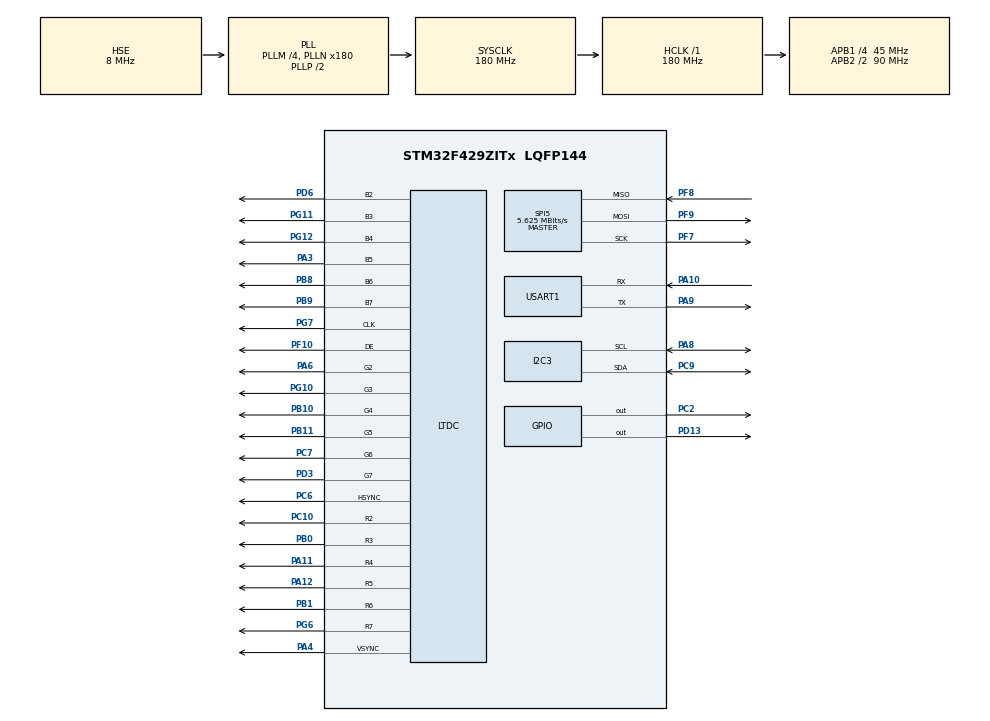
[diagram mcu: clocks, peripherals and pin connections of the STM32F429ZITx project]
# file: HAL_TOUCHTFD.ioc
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LTDC.ActiveH=320
LTDC.ActiveW=240
LTDC.Alpha_L0=255
LTDC.HBP=20
LTDC.HFP=10
LTDC.HSync=10
LTDC.ImageHeight_L0=320
LTDC.ImageWidth_L0=240
LTDC.Layers=0
LTDC.PixelFormat_L0=LTDC_PIXEL_FORMAT_RGB565
LTDC.VFP=4
LTDC.VSync=2
LTDC.WindowX1_L0=240
LTDC.WindowY1_L0=320
Mcu.Family=STM32F4
Mcu.Name=STM32F429ZITx
Mcu.Package=LQFP144
NVIC.PriorityGroup=NVIC_PRIORITYGROUP_4
PA10.Mode=Asynchronous
PA10.Signal=USART1_RX
PA11.Mode=RGB666
PA11.Signal=LTDC_R4
PA12.Mode=RGB666
PA12.Signal=LTDC_R5
PA3.Mode=RGB666
PA3.Signal=LTDC_B5
PA4.Mode=RGB666
PA4.Signal=LTDC_VSYNC
PA6.Mode=RGB666
PA6.Signal=LTDC_G2
PA8.Mode=I2C
PA8.Signal=I2C3_SCL
PA9.Mode=Asynchronous
PA9.Signal=USART1_TX
PB0.Mode=RGB666
PB0.Signal=LTDC_R3
PB1.Mode=RGB666
PB1.Signal=LTDC_R6
PB10.Mode=RGB666
PB10.Signal=LTDC_G4
PB11.Mode=RGB666
PB11.Signal=LTDC_G5
PB8.Mode=RGB666
PB8.Signal=LTDC_B6
PB9.Mode=RGB666
PB9.Signal=LTDC_B7
PC10.Mode=RGB666
PC10.Signal=LTDC_R2
PC2.Signal=GPIO_Output
PC6.Mode=RGB666
PC6.Signal=LTDC_HSYNC
PC7.Mode=RGB666
PC7.Signal=LTDC_G6
PC9.Mode=I2C
PC9.Signal=I2C3_SDA
PD13.Signal=GPIO_Output
PD3.Mode=RGB666
PD3.Signal=LTDC_G7
PD6.Mode=RGB666
PD6.Signal=LTDC_B2
PF10.Mode=RGB666
PF10.Signal=LTDC_DE
PF7.Mode=Full_Duplex_Master
PF7.Signal=SPI5_SCK
PF8.Mode=Full_Duplex_Master
PF8.Signal=SPI5_MISO
PF9.Mode=Full_Duplex_Master
PF9.Signal=SPI5_MOSI
PG10.Mode=RGB666
PG10.Signal=LTDC_G3
PG11.Mode=RGB666
PG11.Signal=LTDC_B3
PG12.Mode=RGB666
PG12.Signal=LTDC_B4
PG6.Mode=RGB666
PG6.Signal=LTDC_R7
PG7.Mode=RGB666
PG7.Signal=LTDC_CLK
PH0/OSC_IN.Mode=HSE-External-Oscillator
PH0/OSC_IN.Signal=RCC_OSC_IN
PH1/OSC_OUT.Mode=HSE-External-Oscillator
PH1/OSC_OUT.Signal=RCC_OSC_OUT
ProjectManager.HeapSize=0x200
ProjectManager.StackSize=0x400
ProjectManager.TargetToolchain=TrueSTUDIO
RCC.48MHZClocksFreq_Value=90000000
RCC.AHBFreq_Value=180000000
RCC.APB1CLKDivider=RCC_HCLK_DIV4
RCC.APB1Freq_Value=45000000
RCC.APB1TimFreq_Value=90000000
RCC.APB2CLKDivider=RCC_HCLK_DIV2
RCC.APB2Freq_Value=90000000
RCC.APB2TimFreq_Value=180000000
RCC.CortexFreq_Value=180000000
RCC.HCLKFreq_Value=180000000
RCC.HSE_VALUE=8000000
RCC.HSI_VALUE=16000000
RCC.LSE_VALUE=32768
RCC.PLLM=4
RCC.PLLN=180
RCC.PLLSAIN=56
RCC.PLLSAIR=7
RCC.PLLSourceVirtual=RCC_PLLSOURCE_HSE
RCC.SYSCLKFreq_VALUE=180000000
RCC.SYSCLKSource=RCC_SYSCLKSOURCE_PLLCLK
RCC.VCOOutputFreq_Value=360000000
SPI5.BaudRatePrescaler=SPI_BAUDRATEPRESCALER_16
SPI5.CalculateBaudRate=5.625 MBits/s
SPI5.Direction=SPI_DIRECTION_2LINES
SPI5.Mode=SPI_MODE_MASTER
SPI5.VirtualType=VM_MASTER
USART1.VirtualMode=VM_ASYNC
board=custom

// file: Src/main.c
/* USER CODE BEGIN Header */
/**
  ******************************************************************************
  * @file           : main.c
  * @brief          : Main program body
  ******************************************************************************
  * @attention
  *
  * <h2><center>&copy; Copyright (c) 2019 STMicroelectronics.
  * All rights reserved.</center></h2>
  *
  * This software component is licensed by ST under BSD 3-Clause license,
  * the "License"; You may not use this file except in compliance with the
  * License. You may obtain a copy of the License at:
  *                        opensource.org/licenses/BSD-3-Clause
  *
  ******************************************************************************
  */
/* USER CODE END Header */

#include "main.h"

/* USER CODE BEGIN Includes */
#include "lcd_ili9341.h"
#include "stm32f429i_discovery_ts.h"
#include <stdio.h>
/* USER CODE END Includes */

I2C_HandleTypeDef hi2c3;

LTDC_HandleTypeDef hltdc;

SPI_HandleTypeDef hspi5;

UART_HandleTypeDef huart1;

void SystemClock_Config(void);
static void MX_GPIO_Init(void);
static void MX_LTDC_Init(void);
static void MX_SPI5_Init(void);
static void MX_USART1_UART_Init(void);
static void MX_I2C3_Init(void);
/* USER CODE BEGIN PFP */
int _write(int file, char *ptr, int len)
{
	HAL_UART_Transmit(&huart1, (uint8_t *)ptr, len, 0xFFFFFFFF);
	return len;
}
/* USER CODE END PFP */

/* USER CODE BEGIN 0 */
#define LCD_FRAMEBUFFER_SIZE (LCD_PIXEL_WIDTH * LCD_PIXEL_HEIGHT)
uint16_t frame_buffer[LCD_FRAMEBUFFER_SIZE];
/* USER CODE END 0 */

int main(void)
{
  /* USER CODE BEGIN 1 */
	int idx = -1;
	int flag = 0;
	int color[] = {
					LCD_COLOR_WHITE,
					LCD_COLOR_BLACK,
					LCD_COLOR_GREY,
					LCD_COLOR_BLUE,
					LCD_COLOR_BLUE2,
					LCD_COLOR_RED,
					LCD_COLOR_MAGENTA,
					LCD_COLOR_GREEN,
					LCD_COLOR_CYAN,
					LCD_COLOR_YELLOW
			};
  /* USER CODE END 1 */

  /* MCU Configuration--------------------------------------------------------*/

  /* Reset of all peripherals, Initializes the Flash interface and the Systick. */
  HAL_Init();

  /* Configure the system clock */
  SystemClock_Config();

  /* USER CODE BEGIN SysInit */
  TS_StateTypeDef stTouch;
  BSP_TS_Init(240, 320);
  /* USER CODE END SysInit */

  /* Initialize all configured peripherals */
  MX_GPIO_Init();
  MX_LTDC_Init();
  MX_SPI5_Init();
  MX_USART1_UART_Init();
  MX_I2C3_Init();
  /* USER CODE BEGIN 2 */
  HAL_GPIO_WritePin(GPIOC, GPIO_PIN_2, GPIO_PIN_SET);
  LCD_PowerOn();
  HAL_LTDC_SetAddress(&hltdc, (uint32_t)frame_buffer, 0);
  /* USER CODE END 2 */

  /* Infinite loop */
  while (1)
  {

    /* USER CODE BEGIN 3 */
	BSP_TS_GetState(&stTouch);
	if(stTouch.TouchDetected) {
		if(!flag) {
			flag = 1;
			printf("X : %d\r\n", stTouch.X);
			printf("Y : %d\r\n", stTouch.Y);
			if(++idx == 11) {
				idx = 0;
			}
			for(int j=0; j<LCD_FRAMEBUFFER_SIZE; j++) {
				frame_buffer[j] = color[idx];
			}
			HAL_Delay(200);
		}
	}
	else {
		flag = 0;
	}
  }
  /* USER CODE END 3 */
}

void SystemClock_Config(void)
{
  RCC_OscInitTypeDef RCC_OscInitStruct = {0};
  RCC_ClkInitTypeDef RCC_ClkInitStruct = {0};
  RCC_PeriphCLKInitTypeDef PeriphClkInitStruct = {0};

  /** Configure the main internal regulator output voltage
  */
  __HAL_RCC_PWR_CLK_ENABLE();
  __HAL_PWR_VOLTAGESCALING_CONFIG(PWR_REGULATOR_VOLTAGE_SCALE1);
  /** Initializes the CPU, AHB and APB busses clocks
  */
  RCC_OscInitStruct.OscillatorType = RCC_OSCILLATORTYPE_HSE;
  RCC_OscInitStruct.HSEState = RCC_HSE_ON;
  RCC_OscInitStruct.PLL.PLLState = RCC_PLL_ON;
  RCC_OscInitStruct.PLL.PLLSource = RCC_PLLSOURCE_HSE;
  RCC_OscInitStruct.PLL.PLLM = 4;
  RCC_OscInitStruct.PLL.PLLN = 180;
  RCC_OscInitStruct.PLL.PLLP = RCC_PLLP_DIV2;
  RCC_OscInitStruct.PLL.PLLQ = 4;
  if (HAL_RCC_OscConfig(&RCC_OscInitStruct) != HAL_OK)
  {
    Error_Handler();
  }
  /** Activate the Over-Drive mode
  */
  if (HAL_PWREx_EnableOverDrive() != HAL_OK)
  {
    Error_Handler();
  }
  /** Initializes the CPU, AHB and APB busses clocks
  */
  RCC_ClkInitStruct.ClockType = RCC_CLOCKTYPE_HCLK|RCC_CLOCKTYPE_SYSCLK
                              |RCC_CLOCKTYPE_PCLK1|RCC_CLOCKTYPE_PCLK2;
  RCC_ClkInitStruct.SYSCLKSource = RCC_SYSCLKSOURCE_PLLCLK;
  RCC_ClkInitStruct.AHBCLKDivider = RCC_SYSCLK_DIV1;
  RCC_ClkInitStruct.APB1CLKDivider = RCC_HCLK_DIV4;
  RCC_ClkInitStruct.APB2CLKDivider = RCC_HCLK_DIV2;

  if (HAL_RCC_ClockConfig(&RCC_ClkInitStruct, FLASH_LATENCY_5) != HAL_OK)
  {
    Error_Handler();
  }
  PeriphClkInitStruct.PeriphClockSelection = RCC_PERIPHCLK_LTDC;
  PeriphClkInitStruct.PLLSAI.PLLSAIN = 56;
  PeriphClkInitStruct.PLLSAI.PLLSAIR = 7;
  PeriphClkInitStruct.PLLSAIDivR = RCC_PLLSAIDIVR_2;
  if (HAL_RCCEx_PeriphCLKConfig(&PeriphClkInitStruct) != HAL_OK)
  {
    Error_Handler();
  }
}

static void MX_I2C3_Init(void)
{

  hi2c3.Instance = I2C3;
  hi2c3.Init.ClockSpeed = 100000;
  hi2c3.Init.DutyCycle = I2C_DUTYCYCLE_2;
  hi2c3.Init.OwnAddress1 = 0;
  hi2c3.Init.AddressingMode = I2C_ADDRESSINGMODE_7BIT;
  hi2c3.Init.DualAddressMode = I2C_DUALADDRESS_DISABLE;
  hi2c3.Init.OwnAddress2 = 0;
  hi2c3.Init.GeneralCallMode = I2C_GENERALCALL_DISABLE;
  hi2c3.Init.NoStretchMode = I2C_NOSTRETCH_DISABLE;
  if (HAL_I2C_Init(&hi2c3) != HAL_OK)
  {
    Error_Handler();
  }
  /** Configure Analogue filter
  */
  if (HAL_I2CEx_ConfigAnalogFilter(&hi2c3, I2C_ANALOGFILTER_ENABLE) != HAL_OK)
  {
    Error_Handler();
  }
  /** Configure Digital filter
  */
  if (HAL_I2CEx_ConfigDigitalFilter(&hi2c3, 0) != HAL_OK)
  {
    Error_Handler();
  }

}

static void MX_LTDC_Init(void)
{

  LTDC_LayerCfgTypeDef pLayerCfg = {0};

  hltdc.Instance = LTDC;
  hltdc.Init.HSPolarity = LTDC_HSPOLARITY_AL;
  hltdc.Init.VSPolarity = LTDC_VSPOLARITY_AL;
  hltdc.Init.DEPolarity = LTDC_DEPOLARITY_AL;
  hltdc.Init.PCPolarity = LTDC_PCPOLARITY_IPC;
  hltdc.Init.HorizontalSync = 9;
  hltdc.Init.VerticalSync = 1;
  hltdc.Init.AccumulatedHBP = 29;
  hltdc.Init.AccumulatedVBP = 3;
  hltdc.Init.AccumulatedActiveW = 269;
  hltdc.Init.AccumulatedActiveH = 323;
  hltdc.Init.TotalWidth = 279;
  hltdc.Init.TotalHeigh = 327;
  hltdc.Init.Backcolor.Blue = 0;
  hltdc.Init.Backcolor.Green = 0;
  hltdc.Init.Backcolor.Red = 0;
  if (HAL_LTDC_Init(&hltdc) != HAL_OK)
  {
    Error_Handler();
  }
  pLayerCfg.WindowX0 = 0;
  pLayerCfg.WindowX1 = 240;
  pLayerCfg.WindowY0 = 0;
  pLayerCfg.WindowY1 = 320;
  pLayerCfg.PixelFormat = LTDC_PIXEL_FORMAT_RGB565;
  pLayerCfg.Alpha = 255;
  pLayerCfg.Alpha0 = 0;
  pLayerCfg.BlendingFactor1 = LTDC_BLENDING_FACTOR1_CA;
  pLayerCfg.BlendingFactor2 = LTDC_BLENDING_FACTOR2_CA;
  pLayerCfg.FBStartAdress = 0;
  pLayerCfg.ImageWidth = 240;
  pLayerCfg.ImageHeight = 320;
  pLayerCfg.Backcolor.Blue = 0;
  pLayerCfg.Backcolor.Green = 0;
  pLayerCfg.Backcolor.Red = 0;
  if (HAL_LTDC_ConfigLayer(&hltdc, &pLayerCfg, 0) != HAL_OK)
  {
    Error_Handler();
  }

}

static void MX_SPI5_Init(void)
{

  /* SPI5 parameter configuration*/
  hspi5.Instance = SPI5;
  hspi5.Init.Mode = SPI_MODE_MASTER;
  hspi5.Init.Direction = SPI_DIRECTION_2LINES;
  hspi5.Init.DataSize = SPI_DATASIZE_8BIT;
  hspi5.Init.CLKPolarity = SPI_POLARITY_LOW;
  hspi5.Init.CLKPhase = SPI_PHASE_1EDGE;
  hspi5.Init.NSS = SPI_NSS_SOFT;
  hspi5.Init.BaudRatePrescaler = SPI_BAUDRATEPRESCALER_16;
  hspi5.Init.FirstBit = SPI_FIRSTBIT_MSB;
  hspi5.Init.TIMode = SPI_TIMODE_DISABLE;
  hspi5.Init.CRCCalculation = SPI_CRCCALCULATION_DISABLE;
  hspi5.Init.CRCPolynomial = 10;
  if (HAL_SPI_Init(&hspi5) != HAL_OK)
  {
    Error_Handler();
  }

}

static void MX_USART1_UART_Init(void)
{

  huart1.Instance = USART1;
  huart1.Init.BaudRate = 115200;
  huart1.Init.WordLength = UART_WORDLENGTH_8B;
  huart1.Init.StopBits = UART_STOPBITS_1;
  huart1.Init.Parity = UART_PARITY_NONE;
  huart1.Init.Mode = UART_MODE_TX_RX;
  huart1.Init.HwFlowCtl = UART_HWCONTROL_NONE;
  huart1.Init.OverSampling = UART_OVERSAMPLING_16;
  if (HAL_UART_Init(&huart1) != HAL_OK)
  {
    Error_Handler();
  }

}

static void MX_GPIO_Init(void)
{
  GPIO_InitTypeDef GPIO_InitStruct = {0};

  /* GPIO Ports Clock Enable */
  __HAL_RCC_GPIOF_CLK_ENABLE();
  __HAL_RCC_GPIOH_CLK_ENABLE();
  __HAL_RCC_GPIOC_CLK_ENABLE();
  __HAL_RCC_GPIOA_CLK_ENABLE();
  __HAL_RCC_GPIOB_CLK_ENABLE();
  __HAL_RCC_GPIOD_CLK_ENABLE();
  __HAL_RCC_GPIOG_CLK_ENABLE();

  /*Configure GPIO pin Output Level */
  HAL_GPIO_WritePin(GPIOC, GPIO_PIN_2, GPIO_PIN_RESET);

  /*Configure GPIO pin Output Level */
  HAL_GPIO_WritePin(GPIOD, GPIO_PIN_13, GPIO_PIN_RESET);

  /*Configure GPIO pin : PC2 */
  GPIO_InitStruct.Pin = GPIO_PIN_2;
  GPIO_InitStruct.Mode = GPIO_MODE_OUTPUT_PP;
  GPIO_InitStruct.Pull = GPIO_NOPULL;
  GPIO_InitStruct.Speed = GPIO_SPEED_FREQ_LOW;
  HAL_GPIO_Init(GPIOC, &GPIO_InitStruct);

  /*Configure GPIO pin : PD13 */
  GPIO_InitStruct.Pin = GPIO_PIN_13;
  GPIO_InitStruct.Mode = GPIO_MODE_OUTPUT_PP;
  GPIO_InitStruct.Pull = GPIO_NOPULL;
  GPIO_InitStruct.Speed = GPIO_SPEED_FREQ_LOW;
  HAL_GPIO_Init(GPIOD, &GPIO_InitStruct);

}

void Error_Handler(void)
{
}

/************************ (C) COPYRIGHT STMicroelectronics *****END OF FILE****/
